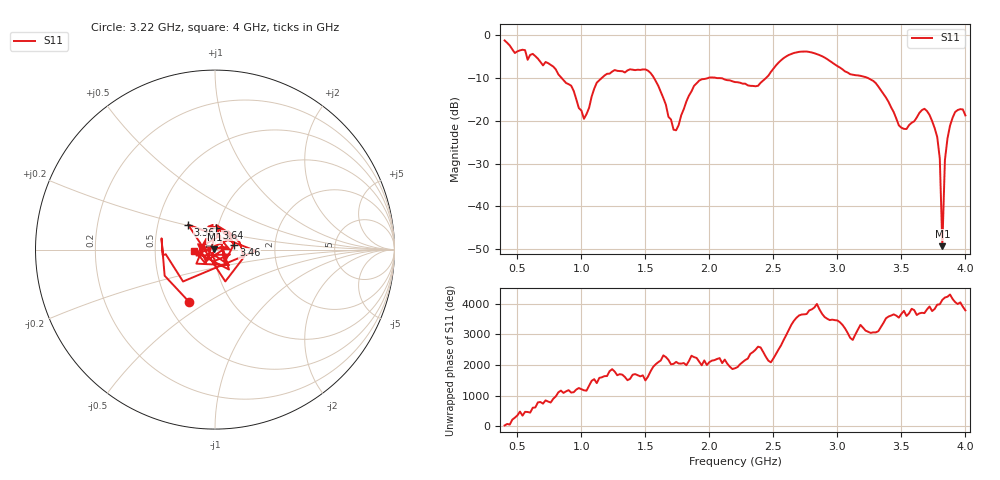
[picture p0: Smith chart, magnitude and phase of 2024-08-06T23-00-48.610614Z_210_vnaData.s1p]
!Created with skrf (http://scikit-rf.org).
# Hz S RI R 50.0
!freq ReS11 ImS11
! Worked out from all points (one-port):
!   181 points, 400 MHz to 4 GHz, reference 50 ohm
!   lowest |S11| = -49.3 dB at 3.82 GHz (marker M1), VSWR 1.01, Z = 49.7 + j0.061 ohm
!   |S11| at or under -10 dB: 1.567 GHz to 1.989 GHz (421.4 MHz wide, 23.7 % of centre); 2.058 GHz to 2.442 GHz (383.3 MHz wide, 17 % of centre); 3.24 GHz to end of sweep (the widest 3 of 4)
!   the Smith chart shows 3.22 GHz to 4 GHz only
!   S11 on the Smith chart (normalised r, x): 3.22 GHz: 0.64, -0.42; 3.36 GHz: 0.71, +0.21; 3.46 GHz: 1.23, +0.06; 3.64 GHz: 0.99, +0.25; 4 GHz: 0.79, -0.01
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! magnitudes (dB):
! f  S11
! 400 MHz  -1.2
! 860 MHz  -10.5
! 920 MHz  -11.8
! 1.02 GHz  -19.5
! 1.12 GHz  -11.1
! 1.3 GHz  -8.4
! 1.54 GHz  -8.8
! 1.72 GHz  -22.1
! 1.76 GHz  -21.0
! 1.92 GHz  -10.6
! 2.2 GHz  -10.9
! 2.38 GHz  -11.8
! 2.66 GHz  -4.1
! 2.84 GHz  -4.4
! 3.1 GHz  -9.1
! 3.22 GHz  -9.8
! 3.36 GHz  -13.8
! 3.46 GHz  -19.5
! 3.56 GHz  -21.0
! 3.64 GHz  -18.2
! 3.7 GHz  -17.7
! 3.78 GHz  -23.8
! 3.8 GHz  -28.8
! 3.82 GHz  -49.3
! 3.84 GHz  -29.2
! 3.86 GHz  -24.1
! 3.92 GHz  -17.9
! 4 GHz  -18.7
